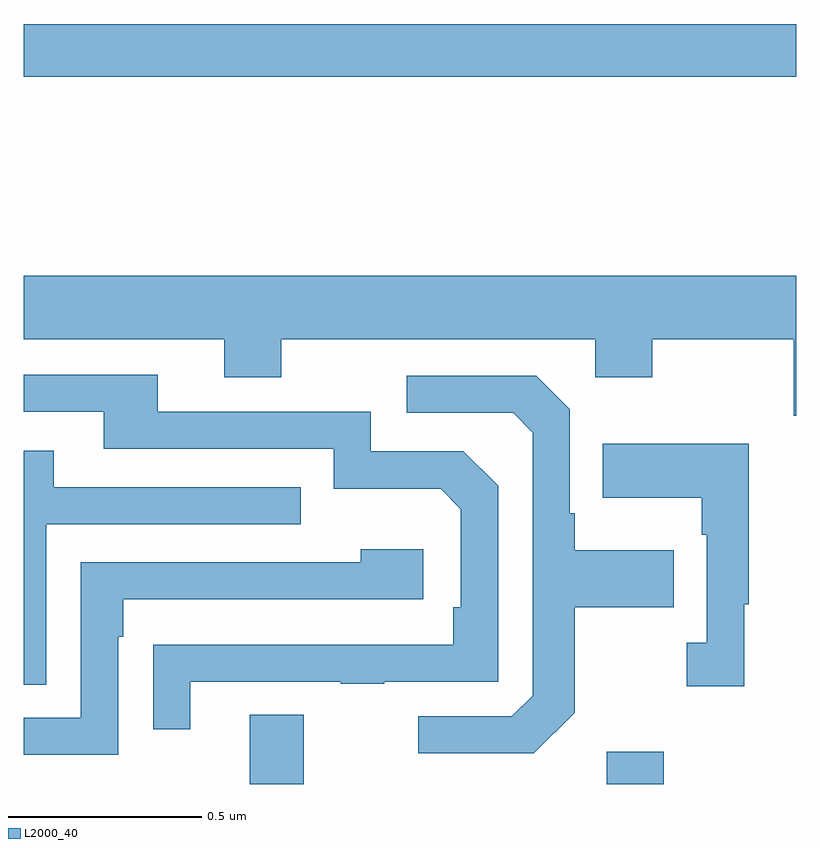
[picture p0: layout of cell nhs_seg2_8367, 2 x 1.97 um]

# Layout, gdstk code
import gdstk
lib = gdstk.Library(unit=1e-6, precision=1e-09)
def R(c, l, rs):  # rectangles x0, y0, x1, y1
    for r in rs: c.add(gdstk.rectangle(r[:2], r[2:], *l))
def P(c, l, *ps):  # polygons
    for p in ps: c.add(gdstk.Polygon(p, *l))
L2000_40 = (2000, 40)

nhs_seg2_8367 = lib.new_cell('nhs_seg2_8367')
R(nhs_seg2_8367, L2000_40, [(215.585,663.8,215.725,663.979), (216.509,663.8,216.657,663.883), (215,665.632,217,665.768)])
P(nhs_seg2_8367, L2000_40, [(217,665.116),(215,665.116),(215,664.952),(215.519,664.952),(215.519,664.853),(215.667,664.853),(215.667,664.952),(216.48,664.952),(216.48,664.853),(216.627,664.853),(216.627,664.952),(216.994,664.952),(216.994,664.753),(217,664.753)],
  [(215.431,664.065),(215.821,664.065),(215.821,664.06),(215.933,664.06),(215.933,664.065),(216.228,664.065),(216.228,664.572),(216.138,664.662),(215.898,664.662),(215.898,664.764),(215.347,664.764),(215.347,664.86),(215,664.86),(215,664.764),(215.207,664.764),(215.207,664.668),(215.802,664.668),(215.802,664.565),(216.079,664.565),(216.132,664.512),(216.132,664.258),(216.112,664.258),(216.112,664.161),(215.437,664.161),(215.437,664.16),(215.335,664.16),(215.335,663.942),(215.431,663.942)],
  [(216.427,663.985),(216.427,664.258),(216.683,664.258),(216.683,664.405),(216.427,664.405),(216.427,664.501),(216.414,664.501),(216.414,664.77),(216.327,664.857),(215.991,664.857),(215.991,664.761),(216.267,664.761),(216.318,664.71),(216.318,664.029),(216.264,663.975),(216.021,663.975),(216.021,663.879),(216.321,663.879)],
  [(216.865,664.265),(216.877,664.265),(216.877,664.681),(216.499,664.681),(216.499,664.541),(216.756,664.541),(216.756,664.445),(216.768,664.445),(216.768,664.166),(216.717,664.166),(216.717,664.053),(216.865,664.053)],
  [(215.058,664.473),(215.717,664.473),(215.717,664.569),(215.077,664.569),(215.077,664.663),(215,664.663),(215,664.057),(215.058,664.057)],
  [(215.244,664.181),(215.257,664.181),(215.257,664.278),(216.034,664.278),(216.034,664.408),(215.873,664.408),(215.873,664.374),(215.148,664.374),(215.148,663.972),(215,663.972),(215,663.876),(215.244,663.876)])

lib.write_gds('nhs_seg2_8367.gds')
